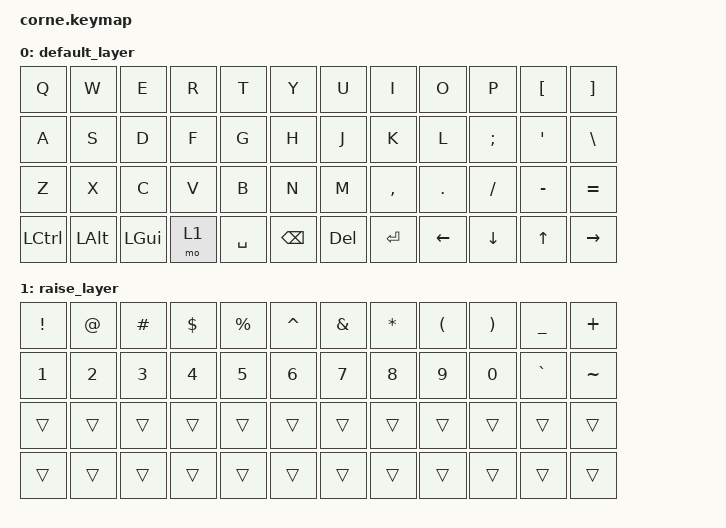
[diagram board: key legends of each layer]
#include <behaviors.dtsi>
#include <dt-bindings/zmk/keys.h>
#include <dt-bindings/zmk/bt.h>

/ {
    keymap {
        compatible = "zmk,keymap";
        
        default_layer {
            bindings = <
                &kp Q       &kp W       &kp E       &kp R       &kp T       &kp Y       &kp U       &kp I       &kp O       &kp P       &kp LBKT    &kp RBKT
                &kp A       &kp S       &kp D       &kp F       &kp G       &kp H       &kp J       &kp K       &kp L       &kp SEMI    &kp SQT     &kp BSLH
                &kp Z       &kp X       &kp C       &kp V       &kp B       &kp N       &kp M       &kp COMMA   &kp DOT     &kp FSLH    &kp MINUS   &kp EQUAL
                &kp LCTRL   &kp LALT    &kp LGUI    &mo 1       &kp SPACE   &kp BSPC    &kp DEL     &kp RET     &kp LEFT    &kp DOWN    &kp UP      &kp RIGHT
            >;
        };

        raise_layer {
            bindings = <
                &kp EXCL    &kp AT      &kp HASH    &kp DLLR    &kp PRCNT   &kp CARET   &kp AMPS    &kp STAR    &kp LPAR    &kp RPAR    &kp UNDER   &kp PLUS
                &kp N1      &kp N2      &kp N3      &kp N4      &kp N5      &kp N6      &kp N7      &kp N8      &kp N9      &kp N0      &kp GRAVE   &kp TILDE
                &trans      &trans      &trans      &trans      &trans      &trans      &trans      &trans      &trans      &trans      &trans      &trans
                &trans      &trans      &trans      &trans      &trans      &trans      &trans      &trans      &trans      &trans      &trans      &trans
            >;
        };
    };
}; 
